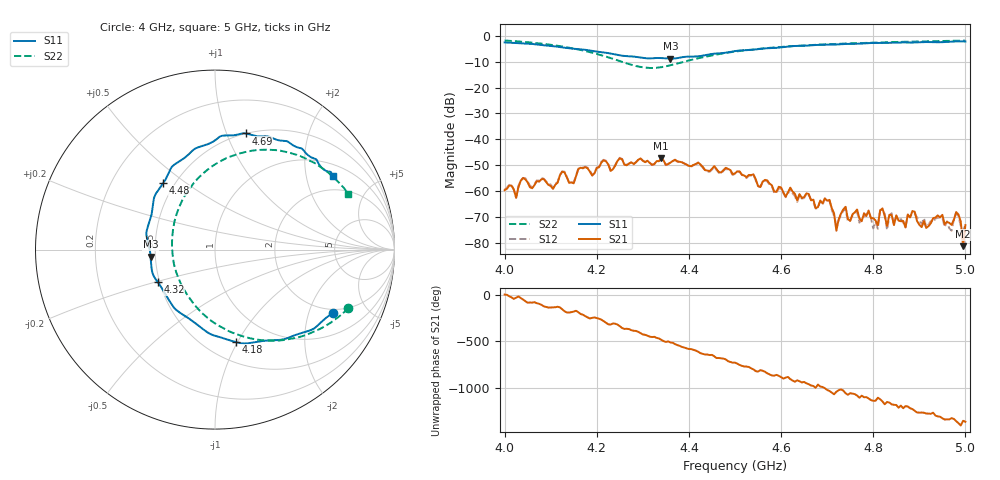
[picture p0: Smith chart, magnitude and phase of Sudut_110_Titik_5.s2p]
# Hz S RI R 50
! CMT, C1220, 16058040, 17.2.0/1
! Date: 15/08/2018 12:20:00
! Data: Format (Calibration Info)
! Freq  S11: Re/Im (F2)  S21: Re/Im (F2)  S12: Re/Im (F2)  S22: Re/Im (F2)
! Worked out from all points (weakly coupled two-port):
!   201 points, 4 GHz to 5 GHz, reference 50 ohm
!   highest |S21| = -47.36 dB at 4.34 GHz (marker M1); lowest = -81.3 dB at 4.995 GHz (marker M2)
!   lowest |S11| = -8.8 dB at 4.36 GHz (marker M3), VSWR 2.13, Z = 23.5 - j2.15 ohm
!   |S11| at or under -10 dB: nowhere
!   |S22| runs from -12.5 to -1.8 dB; largest |S21 - S12| = 0.00017
!   S11 on the Smith chart (normalised r, x): 4 GHz: 1.83, -2.90; 4.18 GHz: 0.69, -0.98; 4.32 GHz: 0.49, -0.20; 4.48 GHz: 0.43, +0.42; 4.69 GHz: 0.50, +1.17; 5 GHz: 1.40, +2.87
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4e9  0.6547 -0.3529  0.00104 4.82e-05  0.00106 8.78e-05  0.7421 -0.3257
4.17e9  0.1456 -0.5218  -0.00228 0.00155  -0.00234 0.00163  0.1747 -0.489
4.18e9  0.1145 -0.5149  -0.00132 0.00242  -0.00137 0.0025  0.1333 -0.4755
4.32e9  -0.3191 -0.1803  -0.000195 -0.00321  -0.000231 -0.00323  -0.2371 -0.0194
4.335e9  -0.3472 -0.1328  -0.00121 -0.00358  -0.00127 -0.00357  -0.2394 0.0438
4.34e9  -0.3514 -0.1172  -0.00231 -0.00361  -0.00229 -0.00352  -0.2386 0.0644
4.36e9  -0.3592 -0.0397  -0.00314 -0.00168  -0.00318 -0.00158  -0.2288 0.1422
4.48e9  -0.287 0.3728  0.00253 0.00124  0.00246 0.00114  -0.0145 0.4651
4.5e9  -0.2532 0.4367  0.00218 -0.000321  0.00215 -0.000281  0.031 0.4929
4.67e9  0.1368 0.6435  -0.000132 0.000672  -5.88e-05 0.000604  0.3749 0.5487
4.69e9  0.172 0.647  -1.12e-05 0.000579  -1.95e-05 0.000545  0.4083 0.5407
4.705e9  0.205 0.6378  0.000451 0.000506  0.000455 0.000475  0.4326 0.5338
4.72e9  0.246 0.6306  0.000133 0.000108  0.000166 0.000142  0.4559 0.5281
4.74e9  0.287 0.6315  0.000458 0.000193  0.000436 0.000138  0.4827 0.5173
4.8e9  0.4 0.6044  0.00016 -0.000254  0.000151 -0.000116  0.5594 0.4802
4.815e9  0.4184 0.5928  0.00032 -0.000278  0.000347 -0.000258  0.5766 0.4682
4.83e9  0.446 0.5752  7.04e-05 -0.000202  1.21e-05 -0.000176  0.5941 0.4563
4.835e9  0.4557 0.5707  8.18e-05 -0.00034  0.000125 -0.000303  0.5995 0.4522
4.97e9  0.6369 0.4344  -9.79e-05 0.000201  -6.31e-05 0.00016  0.7206 0.3401
4.98e9  0.6447 0.4325  4.05e-05 0.000391  3.38e-05 0.000373  0.7274 0.3304
4.995e9  0.6526 0.4177  2.95e-06 8.64e-05  4.96e-05 0.000162  0.7392 0.3158
5e9  0.6568 0.41  4.6e-05 0.000216  2.97e-05 0.000224  0.743 0.3113
